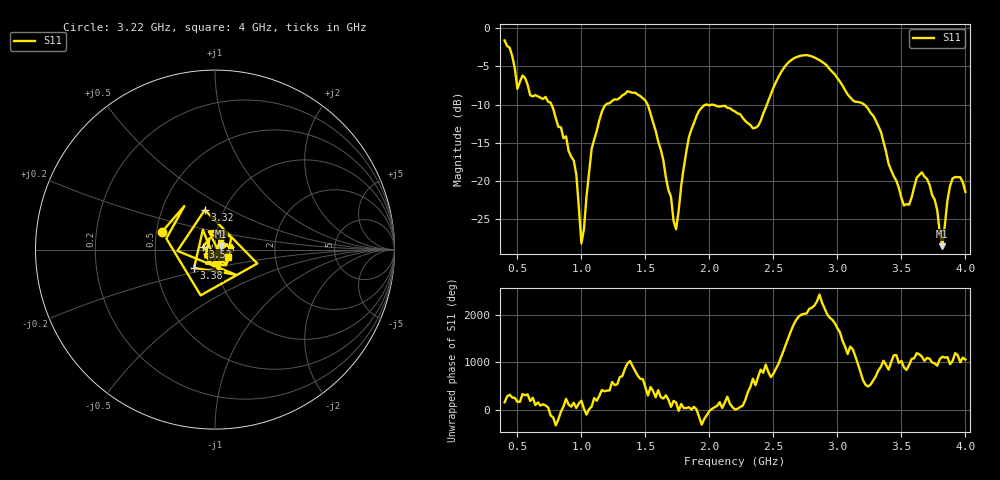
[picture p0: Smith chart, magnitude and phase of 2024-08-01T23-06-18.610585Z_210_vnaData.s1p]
!Created with skrf (http://scikit-rf.org).
# Hz S RI R 50.0
!freq ReS11 ImS11
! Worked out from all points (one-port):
!   181 points, 400 MHz to 4 GHz, reference 50 ohm
!   lowest |S11| = -28.6 dB at 3.82 GHz (marker M1), VSWR 1.08, Z = 53.1 + j2.23 ohm
!   |S11| at or under -10 dB: 1.517 GHz to 1.977 GHz (460.2 MHz wide, 26.3 % of centre); 1.982 GHz to 2.45 GHz (467.7 MHz wide, 21.1 % of centre); 3.209 GHz to end of sweep (the widest 3 of 4)
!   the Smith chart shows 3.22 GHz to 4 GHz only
!   S11 on the Smith chart (normalised r, x): 3.22 GHz: 0.54, +0.12; 3.32 GHz: 0.81, +0.38; 3.38 GHz: 0.78, -0.16; 3.52 GHz: 0.87, +0.03; 4 GHz: 1.16, -0.09
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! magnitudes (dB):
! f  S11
! 400 MHz  -1.6
! 500 MHz  -7.9
! 720 MHz  -9.0
! 860 MHz  -14.4
! 960 MHz  -19.1
! 1 GHz  -28.2
! 1.08 GHz  -15.8
! 1.18 GHz  -10.2
! 1.3 GHz  -9.1
! 1.52 GHz  -10.1
! 1.72 GHz  -25.3
! 1.76 GHz  -23.9
! 1.84 GHz  -14.3
! 1.92 GHz  -10.8
! 2.2 GHz  -10.9
! 2.38 GHz  -12.8
! 2.66 GHz  -3.9
! 3.1 GHz  -9.1
! 3.22 GHz  -10.1
! 3.32 GHz  -12.8
! 3.38 GHz  -16.2
! 3.52 GHz  -23.2
! 3.56 GHz  -23.1
! 3.66 GHz  -18.9
! 3.76 GHz  -22.5
! 3.82 GHz  -28.6
! 3.9 GHz  -19.7
! 4 GHz  -21.5
